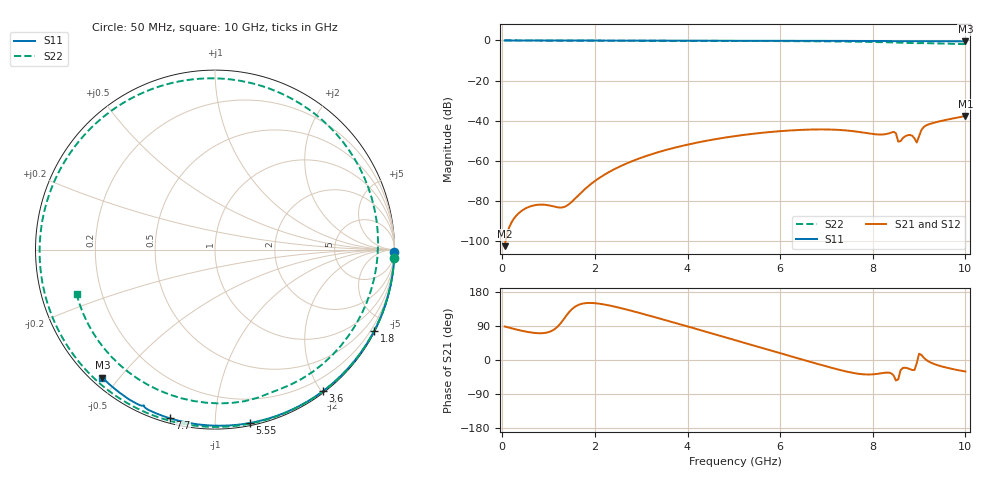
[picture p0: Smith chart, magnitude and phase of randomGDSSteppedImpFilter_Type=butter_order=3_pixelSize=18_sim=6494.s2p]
! freq	dB(S11)	phase(S11)	dB(S12)	phase(S12)
!  dB(S21)	phase(S21)	dB(S22)	phase(S22)
!S-par simulation data
#  GHz  S  DB  R 50
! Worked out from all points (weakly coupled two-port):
!   200 points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, 50 MHz to 10 GHz, reference 50 ohm
!   highest |S21| = -37.60 dB at 10 GHz (marker M1); lowest = -102.3 dB at 50 MHz (marker M2)
!   lowest |S11| = -0.4 dB at 10 GHz (marker M3), VSWR 39.01, Z = 1.54 - j22.6 ohm
!   |S11| at or under -10 dB: nowhere
!   |S22| runs from -1.8 to 0.0 dB; largest |S21 - S12| = 0
!   S11 on the Smith chart (normalised r, x): 50 MHz: open; 1.8 GHz: 0.04, -4.18; 3.6 GHz: 0.02, -2.02; 5.55 GHz: 0.02, -1.22; 7.7 GHz: 0.02, -0.77; 10 GHz: 0.03, -0.45
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0.05  -0.00 -0.8  -102.34 88.4  -102.34 88.4  -0.00 -2.6
0.7  -0.01 -10.6  -81.97 71.4  -81.97 71.4  -0.05 -34.9
1.5  -0.03 -22.5  -80.25 133.7  -80.25 133.7  -0.09 -72.0
1.75  -0.03 -26.2  -74.64 149.2  -74.64 149.2  -0.10 -82.8
1.8  -0.03 -26.9  -73.61 150.1  -73.61 150.1  -0.10 -84.9
2.45  -0.05 -36.4  -63.69 140.2  -63.69 140.2  -0.12 -110.8
3.4  -0.07 -49.9  -55.36 109.4  -55.36 109.4  -0.15 -144.7
3.6  -0.07 -52.6  -54.08 102.5  -54.08 102.5  -0.16 -151.4
5.05  -0.11 -72.2  -47.50 51.6  -47.50 51.6  -0.24 160.4
5.55  -0.13 -78.6  -46.08 33.8  -46.08 33.8  -0.27 142.7
6.7  -0.18 -93.0  -44.30 -6.6  -44.30 -6.6  -0.39 95.0
7.2  -0.21 -99.1  -44.41 -23.5  -44.41 -23.5  -0.48 68.5
7.7  -0.24 -105.0  -45.51 -36.5  -45.51 -36.5  -0.63 36.7
8.35  -0.30 -112.8  -46.21 -33.4  -46.21 -33.4  -0.93 -14.8
8.5  -0.41 -114.6  -46.18 -54.0  -46.18 -54.0  -1.02 -28.2
8.55  -0.40 -114.6  -50.31 -51.2  -50.31 -51.2  -1.06 -32.8
8.85  -0.33 -118.2  -47.36 -26.4  -47.36 -26.4  -1.28 -60.7
8.95  -0.33 -119.3  -50.76 -8.1  -50.76 -8.1  -1.35 -69.5
9.05  -0.34 -120.5  -44.53 13.3  -44.53 13.3  -1.30 -78.9
9.15  -0.35 -121.7  -42.30 0.6  -42.30 0.6  -1.34 -88.6
9.6  -0.40 -126.8  -39.42 -20.4  -39.42 -20.4  -1.59 -129.5
10  -0.45 -131.3  -37.60 -30.4  -37.60 -30.4  -1.83 -162.3
